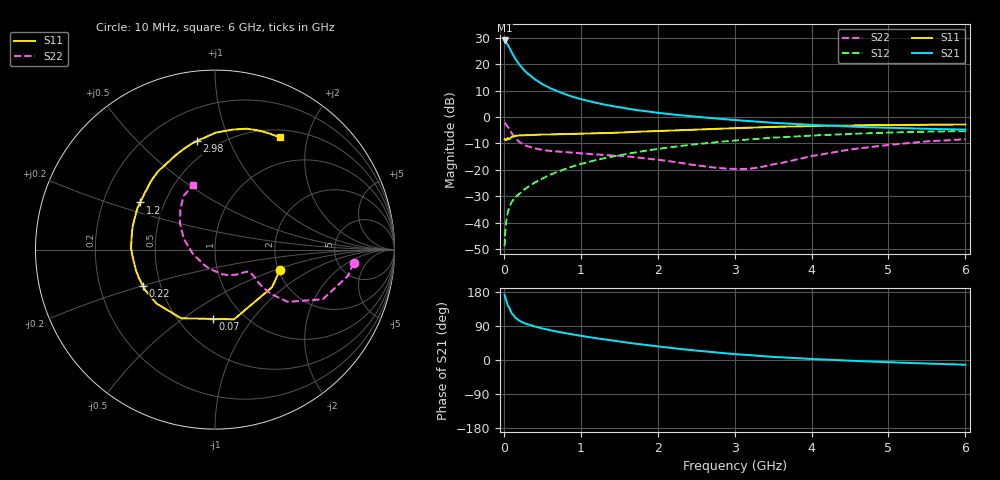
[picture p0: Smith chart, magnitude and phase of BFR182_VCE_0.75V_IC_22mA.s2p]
! Infineon Technologies  Discrete & RF Semiconductors
! BFR182
! VCE = 0.75 V,  IC =  22 mA
! Common Emitter S-Parameters:  Nov 2015
# GHz  S  MA  R  50
!  f  S11  S21  S12  S22
! GHz  MAG  ANG  MAG  ANG  MAG  ANG  MAG  ANG
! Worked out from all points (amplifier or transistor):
!   210 points, 10 MHz to 6 GHz, reference 50 ohm
!   highest |S21| = 29.0 dB at 10 MHz (marker M1)
!   |S21| within 3 dB of that: start of sweep to 75.16 MHz
!   unconditionally stable (mu >= 1): start of sweep to 19.03 MHz; 186.8 MHz to end of sweep
!   at 185 MHz: K = 0.99, MSG = 25.0 dB, |S12| = -29.4 dB
!   at 1.52 GHz: K = 1.29, MAG = 5.8 dB, |S12| = -14.4 dB
!   at 6 GHz: K = 1.09, MAG = -1.5 dB, |S12| = -5.3 dB
!   S11 on the Smith chart (normalised r, x): 10 MHz: 2.03, -0.55; 70 MHz: 0.72, -0.66; 220 MHz: 0.40, -0.20; 1.2 GHz: 0.36, +0.25; 2.98 GHz: 0.40, +0.77; 6 GHz: 0.60, +1.56
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0.01  0.3785 -17.9  28.13 172.0  0.0036 75.1  0.7758 -5.6
0.02  0.3809 -33.3  27.35 164.2  0.0072 76.4  0.7549 -11.2
0.05  0.4028 -74.7  23.6 144.6  0.0156 67.3  0.6614 -24.7
0.07  0.3863 -91.8  20.63 137.9  0.0191 63.5  0.5935 -28.4
0.1  0.4267 -116.3  16.92 123.7  0.0244 59.8  0.4978 -35.8
0.15  0.4432 -137.3  12.59 111.4  0.0303 58.8  0.398 -38.3
0.2  0.45 -150.0  9.885 103.9  0.0351 60.5  0.3396 -38.3
0.22  0.4495 -153.5  9.144 102.0  0.0373 61.1  0.325 -37.9
0.26  0.4521 -159.9  7.809 97.8  0.0418 62.4  0.2989 -37.0
0.3  0.4552 -164.9  6.835 94.6  0.046 64.3  0.2822 -35.9
0.4  0.4601 -174.4  5.206 88.4  0.0572 66.1  0.2558 -34.1
0.5  0.4683 178.9  4.187 83.2  0.0685 67.7  0.238 -33.1
0.7  0.4727 168.0  3.064 74.4  0.0921 68.3  0.2222 -33.7
1.02  0.4855 154.6  2.148 63.2  0.1314 67.0  0.2051 -38.0
1.2  0.4933 147.8  1.859 57.4  0.1535 65.6  0.1959 -41.5
1.6  0.5161 135.2  1.448 45.9  0.2017 61.4  0.1803 -51.2
2.02  0.5432 122.8  1.193 35.5  0.2514 56.4  0.1546 -65.8
2.98  0.6133 99.4  0.883 15.9  0.3572 43.2  0.1045 -125.3
3.1  0.6208 97.0  0.857 14.2  0.3684 41.4  0.1035 -136.7
4.1  0.6787 80.4  0.699 1.7  0.4531 27.1  0.1928 156.9
5.1  0.7084 68.6  0.619 -6.6  0.5121 14.0  0.3056 128.3
6  0.7216 60.0  0.578 -12.4  0.542 2.3  0.3803 108.8
